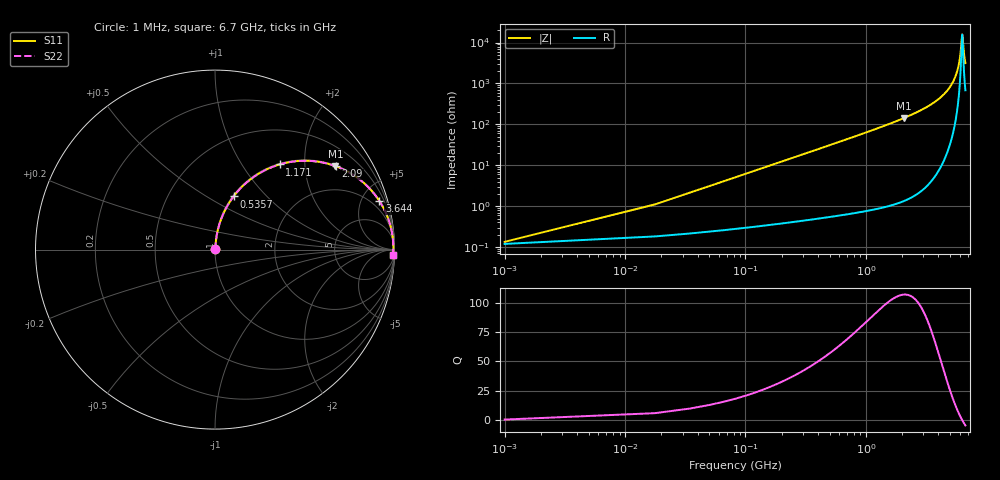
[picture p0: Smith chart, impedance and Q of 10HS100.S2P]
! Coilcraft 1008CS-100 Chip Inductor
! 02 July 2002
# MHZ S MA R 50
!Freq  MagS11  AngS11  MagS21  AngS21  MagS12  AngS12  MagS22  AngS22
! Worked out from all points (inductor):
!   402 points, 1 MHz to 6.7 GHz, reference 50 ohm
!   read as one part in series: L = 9.8 nH near 34.42 MHz
!   highest Q = 107 at 2.073 GHz (marker M1), where L = 11 nH
!   self-resonance near 6.301 GHz
!   S11 on the Smith chart (normalised r, x): 1 MHz: 1.00, +0.00; 535.7 MHz: 1.01, +0.66; 1.171 GHz: 1.02, +1.49; 2.09 GHz: 1.03, +2.89; 3.644 GHz: 1.10, +6.74; 6.7 GHz: 15, -61
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1  0.001344 27.2  0.9988 -0.0  0.9988 -0.0  0.001344 27.2
51.13  0.03149 83.8  0.9971 -1.8  0.9971 -1.8  0.03149 83.8
84.55  0.05193 83.9  0.9959 -3.0  0.9959 -3.0  0.05193 83.9
117.97  0.07232 83.4  0.9943 -4.1  0.9943 -4.1  0.07232 83.4
184.81  0.1128 81.7  0.99 -6.5  0.99 -6.5  0.1128 81.7
268.36  0.1627 79.2  0.9825 -9.4  0.9825 -9.4  0.1627 79.2
535.72  0.3138 70.7  0.9442 -18.3  0.9442 -18.3  0.3138 70.7
1120.57  0.5772 54.1  0.8101 -35.3  0.8101 -35.3  0.5772 54.1
1170.7  0.5951 52.8  0.7971 -36.5  0.7971 -36.5  0.5951 52.8
2073.04  0.8161 34.8  0.5703 -54.7  0.5703 -54.7  0.8161 34.8
2089.75  0.8188 34.5  0.5664 -55.0  0.5664 -55.0  0.8188 34.5
2240.14  0.8412 32.2  0.5329 -57.3  0.5329 -57.3  0.8412 32.2
3359.71  0.9414 19.0  0.3259 -70.3  0.3259 -70.3  0.9414 19.0
3643.78  0.9549 16.5  0.2835 -72.7  0.2835 -72.7  0.9549 16.5
4479.28  0.98 10.1  0.1761 -78.4  0.1761 -78.4  0.98 10.1
5130.97  0.9895 6.1  0.106 -81.3  0.106 -81.3  0.9895 6.1
5598.85  0.9928 3.5  0.06127 -81.5  0.06127 -81.5  0.9928 3.5
5999.89  0.9938 1.5  0.02623 -75.6  0.02623 -75.6  0.9938 1.5
6300.67  0.9937 0.0  0.006311 -4.8  0.006311 -4.8  0.9937 0.0
6350.8  0.9936 -0.2  0.007269 28.8  0.007269 28.8  0.9936 -0.2
6534.61  0.9932 -1.0  0.01928 68.9  0.01928 68.9  0.9932 -1.0
6700  0.9926 -1.8  0.03164 75.7  0.03164 75.7  0.9926 -1.8
